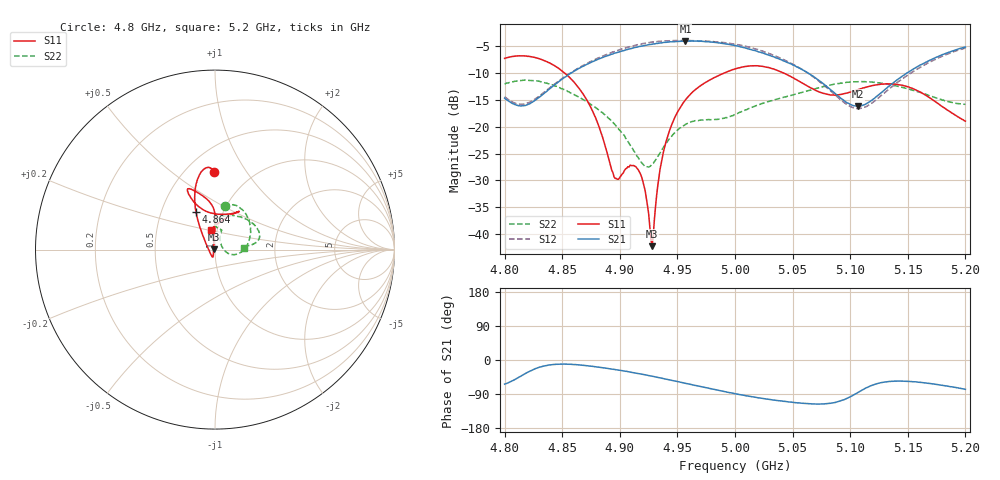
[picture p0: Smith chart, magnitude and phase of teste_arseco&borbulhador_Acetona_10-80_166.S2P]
! Network Analyzer HP8722D
! Hewlett-Packard
! Data name: Linha & Wilkinson
! Saver's name: Rodrigo Anjos
! Comments: Teste da utilização de aquisição
! continua pelo VNA HP8722D
! Time and date: 25/4/2025 16:39
!  Frequency  S11  S21  S12  S22
# HZ  S  MA R 50
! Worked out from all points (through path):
!   401 points, 4.8 GHz to 5.2 GHz, reference 50 ohm
!   highest |S21| = -3.98 dB at 4.957 GHz (marker M1); lowest = -16.2 dB at 5.107 GHz (marker M2)
!   lowest |S11| = -42.3 dB at 4.928 GHz (marker M3), VSWR 1.02, Z = 49.2 + j0.116 ohm
!   |S11| at or under -10 dB: 4.852 GHz to 4.99 GHz (138 MHz wide, 2.8 % of centre); 5.043 GHz to end of sweep
!   |S22| runs from -27.5 to -11.3 dB; largest |S21 - S12| = 1.2
!   S11 on the Smith chart (normalised r, x): 4.8 GHz: 0.67, +0.72; 4.864 GHz: 0.75, +0.33; 5.2 GHz: 0.94, +0.21
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4.8e9  0.435 91.0  0.1854 -63.8  0.1904 69.7  0.2502 77.3
4.82e9  0.4541 97.1  0.1611 -32.3  0.1667 98.4  0.2719 61.9
4.845e9  0.3612 107.6  0.2544 -11.2  0.2577 119.5  0.239 34.7
4.864e9  0.2336 117.0  0.3487 -12.7  0.3517 121.0  0.1901 12.3
4.867e9  0.2103 118.6  0.3628 -13.7  0.367 120.7  0.1825 8.8
4.88e9  0.1136 128.7  0.4209 -18.2  0.4328 118.4  0.1487 -4.9
4.896e9  0.033 -168.6  0.4875 -25.3  0.5065 113.2  0.1043 -15.8
4.91e9  0.04355 -108.3  0.537 -32.4  0.565 107.2  0.06487 -13.4
4.917e9  0.03792 -105.3  0.5621 -36.2  0.5884 103.6  0.0494 -0.7
4.921e9  0.02812 -109.5  0.5718 -38.6  0.599 101.5  0.04375 11.9
4.928e9  0.007704 171.2  0.5892 -42.7  0.617 97.2  0.04463 40.4
4.934e9  0.0341 100.7  0.6035 -46.7  0.628 93.3  0.05502 57.4
4.943e9  0.09114 91.6  0.619 -52.3  0.6353 87.5  0.07714 68.5
4.957e9  0.1788 89.8  0.6324 -61.5  0.6365 78.7  0.1055 71.0
5e9  0.3465 109.3  0.5729 -89.0  0.5916 50.8  0.1304 88.2
5.031e9  0.3526 115.2  0.4597 -104.6  0.4775 33.4  0.1746 84.8
5.067e9  0.2278 105.5  0.3003 -115.8  0.298 23.7  0.222 57.2
5.085e9  0.1983 86.6  0.2128 -113.2  0.2069 28.1  0.2488 40.7
5.107e9  0.2226 64.6  0.1557 -85.3  0.1479 57.8  0.2633 24.3
5.134e9  0.2516 57.7  0.2401 -56.6  0.2263 88.7  0.2482 12.4
5.167e9  0.192 68.9  0.4068 -61.2  0.3906 85.7  0.1984 7.1
5.2e9  0.1129 100.8  0.5543 -77.4  0.5444 70.2  0.1617 3.7
